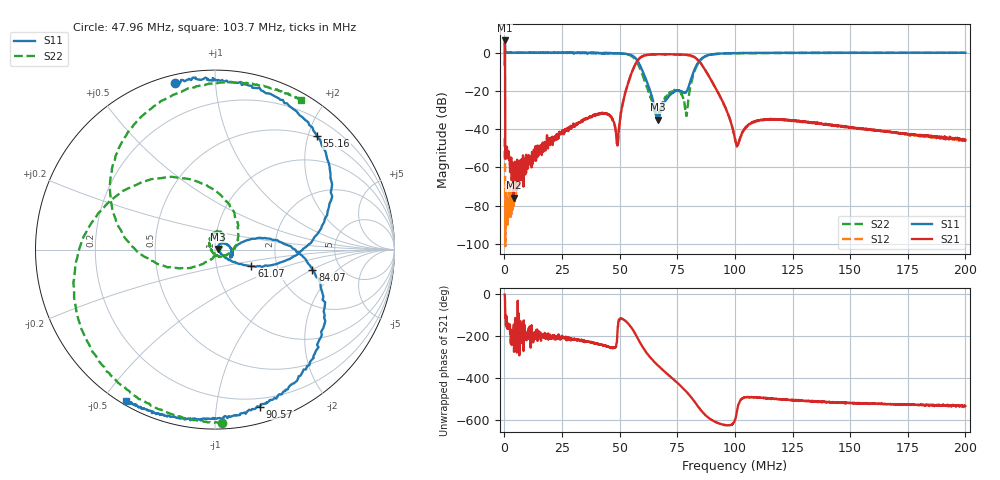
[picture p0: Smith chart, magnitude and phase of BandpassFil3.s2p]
! 19-Feb-26 2:37:44 PM
! E:\VNA_MEASUREMENTS\RECBLOCK\BANDPASSFIL3.S2P
! CHANNEL.1
! TR.MEASUREMENT
! CORRECTED.DATA
# GHZ S RI R 50.0
! FREQ.GHZ  S11RE  S11IM  S21RE  S21IM  S12RE  S12IM  S22RE  S22IM
!; PortSelection: Port_12
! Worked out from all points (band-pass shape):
!   2000 points, 50 kHz to 200 MHz, reference 50 ohm
!   highest |S21| = 6.34 dB at 50 kHz (marker M1); lowest = -75.9 dB at 4.051 MHz (marker M2)
!   |S21| within 3 dB of the highest: start of sweep to 181.7 kHz
!   lowest |S11| = -35.0 dB at 66.57 MHz (marker M3), VSWR 1.04, Z = 51.8 + j0.421 ohm
!   |S11| at or under -10 dB: 60.03 MHz to 82.09 MHz (22.07 MHz wide, 31.1 % of centre)
!   |S22| runs from -34.7 to 0.1 dB; largest |S21 - S12| = 2.1
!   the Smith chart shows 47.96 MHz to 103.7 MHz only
!   S11 on the Smith chart (normalised r, x): 47.96 MHz: 0.04, +0.79; 55.16 MHz: 0.48, +2.16; 61.07 MHz: 1.48, -0.28; 84.07 MHz: 3.13, -1.02; 90.57 MHz: 0.13, -1.32; 103.7 MHz: 0.01, -0.57
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5e-05  0.3651 0.3177  2.075 -0.0382  0.00565 -0.00112  0.9406 -0.0782
0.001350325  -1.005 0.0284  -0.0025 -0.000701  -2.82e-05 -1.5e-05  0.9952 -0.0361
0.004051001  -0.9942 0.0781  -0.00013 -9.46e-05  -8.95e-05 -4.34e-05  0.9977 -0.0637
0.01595398  -0.9574 0.2638  -0.00234 0.00064  -0.00282 0.000883  0.9669 -0.2536
0.03345835  -0.7794 0.5993  -0.0129 0.0111  -0.0124 0.0106  0.7745 -0.6257
0.04426106  -0.4268 0.8718  -0.00936 0.0226  -0.00931 0.0236  0.3495 -0.9171
0.04796198  -0.2203 0.9305  -0.00361 0.0108  -0.00335 0.0113  0.0381 -0.9678
0.04936233  -0.09 0.9478  -0.00397 -0.00429  -0.00441 -0.00407  -0.1212 -0.9503
0.05516378  0.5681 0.6316  -0.2769 -0.1003  -0.2776 -0.0961  -0.7891 -0.1852
0.05786446  0.5788 0.1  -0.5438 0.3356  -0.5367 0.3257  -0.3214 0.3961
0.06106526  0.2031 -0.091  0.00188 0.8498  0.00458 0.8478  0.1322 0.1031
0.06656663  0.0173 0.00407  0.8535 0.3173  0.8471 0.3128  -0.0228 -0.000245
0.06676668  0.0168 0.00816  0.8602 0.2829  0.861 0.2841  -0.0232 0.000996
0.07676919  0.0874 -0.0417  0.1431 -0.8757  0.1375 -0.8761  0.0458 0.0676
0.07906976  0.0981 -0.00264  -0.2495 -0.8335  -0.2472 -0.8316  0.0123 -0.0187
0.08407101  0.5431 -0.1128  -0.6311 -0.033  -0.6278 -0.0369  -0.5178 0.0949
0.09057264  0.2497 -0.8747  -0.0671 0.1373  -0.0677 0.1385  -0.2065 0.8729
0.100075  -0.3681 -0.8969  -0.00285 0.00463  -0.00257 0.00468  0.3707 0.8825
0.1036759  -0.4954 -0.8448  -0.00639 -0.00656  -0.00635 -0.00627  0.4774 0.8322
0.1333833  -0.8837 -0.4438  -0.0127 -0.00684  -0.0127 -0.00722  0.8431 0.4964
0.1666917  -0.9731 -0.1904  -0.00819 -0.00233  -0.00825 -0.00189  0.936 0.2944
0.2  -0.9901 -0.0273  -0.0052 -0.000567  -0.00508 -0.000797  0.9712 0.1627
